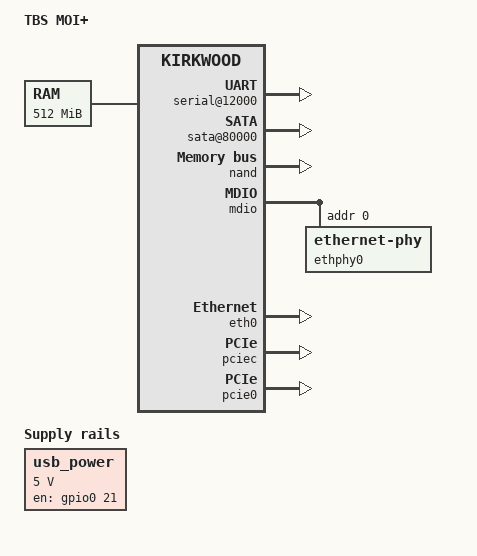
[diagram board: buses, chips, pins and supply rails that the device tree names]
// SPDX-License-Identifier: GPL-2.0
/*
 * Device tree file for TBS MOI+
 *
 * Copyright (c) 2024, bodhi <mibodhi@gmail.com>
 *
 * Note: GPIOs and MPPs are still unknown in this initial version
 */

/dts-v1/;

#include "kirkwood.dtsi"
#include "kirkwood-6282.dtsi"

/ {
	model = "TBS MOI+";
	compatible = "tbs,moi-plus", "marvell,kirkwood-88f6282", "marvell,kirkwood";

	memory {
		device_type = "memory";
		reg = <0x00000000 0x20000000>;
	};

	chosen {
		bootargs = "console=ttyS0,115200";
		stdout-path = &uart0;
	};

	ocp@f1000000 {
		pinctrl: pin-controller@10000 {
			pinctrl-names = "default";

			pmx_usb_power_off: pmx-usb-power-off {
				marvell,pins = "mpp21";
				marvell,function = "gpio";
			};

			pmx_pwr_sata1: pmx-pwr-sata1 {
				marvell,pins = "mpp47";
				marvell,function = "gpio";
			};

			pmx_pwr_off: pmx-pwr-off {
				marvell,pins = "mpp48";
				marvell,function = "gpio";
			};
		};

		serial@12000 {
			status = "ok";
		};

		sata@80000 {
			status = "okay";
			nr-ports = <1>;
		};
	};

	regulators {
		compatible = "simple-bus";
		#address-cells = <1>;
		#size-cells = <0>;
		pinctrl-0 = <&pmx_usb_power_off &pmx_pwr_sata1>;
		pinctrl-names = "default";

		usb_power: regulator@2 {
			compatible = "regulator-fixed";
			reg = <2>;
			regulator-name = "USB Power";
			regulator-min-microvolt = <5000000>;
			regulator-max-microvolt = <5000000>;
			regulator-always-on;
			regulator-boot-on;
			enable-active-high;
			gpio = <&gpio0 21 GPIO_ACTIVE_HIGH>;
		};
	};
};

&nand {
	status = "okay";
	chip-delay = <35>;

	partition@0 {
		label = "uboot";
		reg = <0x0000000 0x0100000>;
	};
};

&mdio {
	status = "okay";

	ethphy0: ethernet-phy@0 {
		reg = <0>;
	};
};

&eth0 {
	status = "okay";

	ethernet0-port@0 {
		phy-handle = <&ethphy0>;
	};
};

&pciec {
	status = "okay";
};

&pcie0 {
	status = "okay";
};
